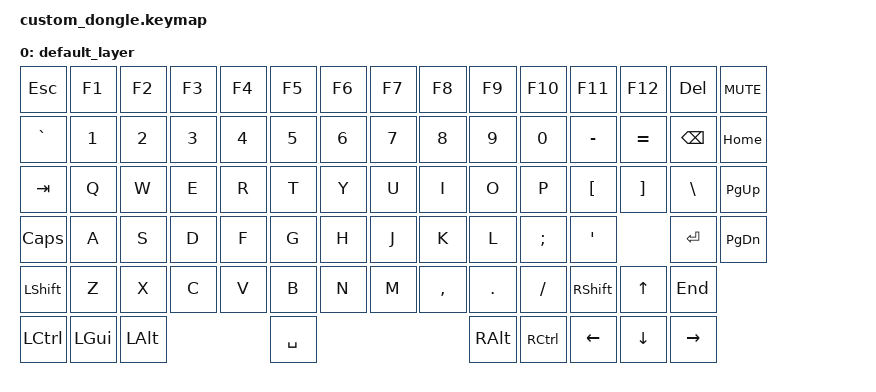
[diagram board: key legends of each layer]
#include <behaviors.dtsi>
#include <dt-bindings/zmk/keys.h>
#include <dt-bindings/zmk/bt.h>

/ {
    keymap {
        compatible = "zmk,keymap";

        default_layer {
            bindings = <
                &kp ESC    &kp F1    &kp F2    &kp F3   &kp F4    &kp F5    &kp F6   &kp F7   &kp F8   &kp F9    &kp F10   &kp F11   &kp F12   &kp DEL   &kp C_MUTE
                &kp GRAVE  &kp N1    &kp N2    &kp N3   &kp N4    &kp N5    &kp N6   &kp N7   &kp N8   &kp N9    &kp N0    &kp MINUS &kp EQUAL &kp BSPC  &kp HOME
                &kp TAB    &kp Q     &kp W     &kp E    &kp R     &kp T     &kp Y    &kp U    &kp I    &kp O     &kp P     &kp LBKT  &kp RBKT  &kp BSLH  &kp PG_UP
                &kp CLCK   &kp A     &kp S     &kp D    &kp F     &kp G     &kp H    &kp J    &kp K    &kp L     &kp SEMI  &kp SQT             &kp ENTER &kp PG_DN
                &kp LSHFT  &kp Z     &kp X     &kp C    &kp V     &kp B     &kp N    &kp M    &kp COMMA &kp DOT  &kp FSLH  &kp RSHFT &kp UP    &kp END
                &kp LCTRL  &kp LGUI  &kp LALT                    &kp SPACE                            &kp RALT  &kp RCTRL &kp LEFT  &kp DOWN  &kp RIGHT
            >;
        };
    };
};
